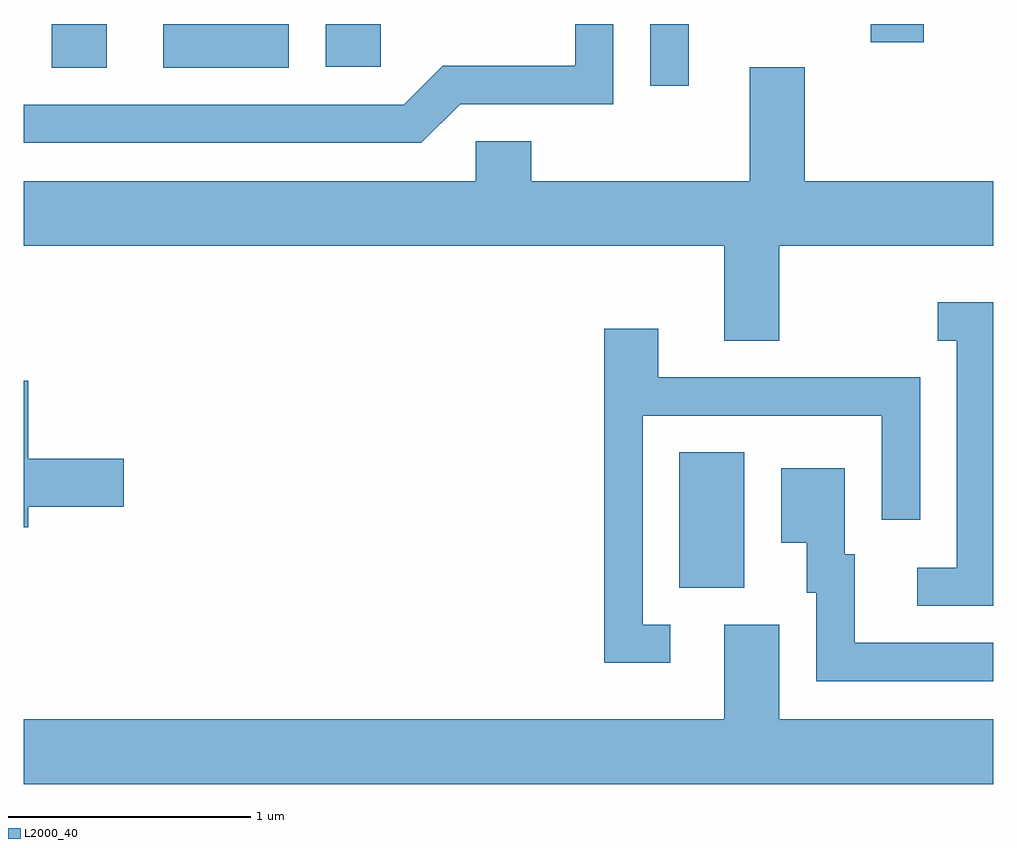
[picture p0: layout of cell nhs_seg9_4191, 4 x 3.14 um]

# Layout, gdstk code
import gdstk
lib = gdstk.Library(unit=1e-6, precision=1e-09)
def R(c, l, rs):  # rectangles x0, y0, x1, y1
    for r in rs: c.add(gdstk.rectangle(r[:2], r[2:], *l))
def P(c, l, *ps):  # polygons
    for p in ps: c.add(gdstk.Polygon(p, *l))
L2000_40 = (2000, 40)

nhs_seg9_4191 = lib.new_cell('nhs_seg9_4191')
R(nhs_seg9_4191, L2000_40, [(310.316,2068.106,310.584,2068.664), (310.196,2070.178,310.354,2070.432), (307.726,2070.251,307.954,2070.432), (308.186,2070.251,308.704,2070.432), (308.856,2070.256,309.084,2070.432), (311.106,2070.356,311.324,2070.432)])
P(nhs_seg9_4191, L2000_40, [(309.412,2070.101),(310.044,2070.101),(310.044,2070.432),(309.886,2070.432),(309.886,2070.259),(309.339,2070.259),(309.179,2070.099),(307.611,2070.099),(307.611,2069.941),(309.252,2069.941)],
  [(310.729,2069.516),(311.611,2069.516),(311.611,2069.784),(310.834,2069.784),(310.834,2070.254),(310.606,2070.254),(310.606,2069.784),(309.704,2069.784),(309.704,2069.949),(309.476,2069.949),(309.476,2069.784),(307.611,2069.784),(307.611,2069.516),(310.501,2069.516),(310.501,2069.126),(310.729,2069.126)],
  [(311.611,2069.284),(311.383,2069.284),(311.383,2069.126),(311.461,2069.126),(311.461,2068.189),(311.298,2068.189),(311.298,2068.031),(311.611,2068.031)],
  [(310.278,2067.954),(310.164,2067.954),(310.164,2068.816),(311.151,2068.816),(311.151,2068.387),(311.309,2068.387),(311.309,2068.974),(310.229,2068.974),(310.229,2069.174),(310.006,2069.174),(310.006,2067.796),(310.278,2067.796)],
  [(307.629,2068.441),(308.024,2068.441),(308.024,2068.639),(307.629,2068.639),(307.629,2068.959),(307.611,2068.959),(307.611,2068.356),(307.629,2068.356)],
  [(311.611,2067.879),(311.039,2067.879),(311.039,2068.244),(310.999,2068.244),(310.999,2068.599),(310.736,2068.599),(310.736,2068.291),(310.841,2068.291),(310.841,2068.086),(310.881,2068.086),(310.881,2067.721),(311.611,2067.721)],
  [(311.611,2067.564),(310.729,2067.564),(310.729,2067.954),(310.501,2067.954),(310.501,2067.564),(307.611,2067.564),(307.611,2067.296),(311.611,2067.296)])

lib.write_gds('nhs_seg9_4191.gds')
